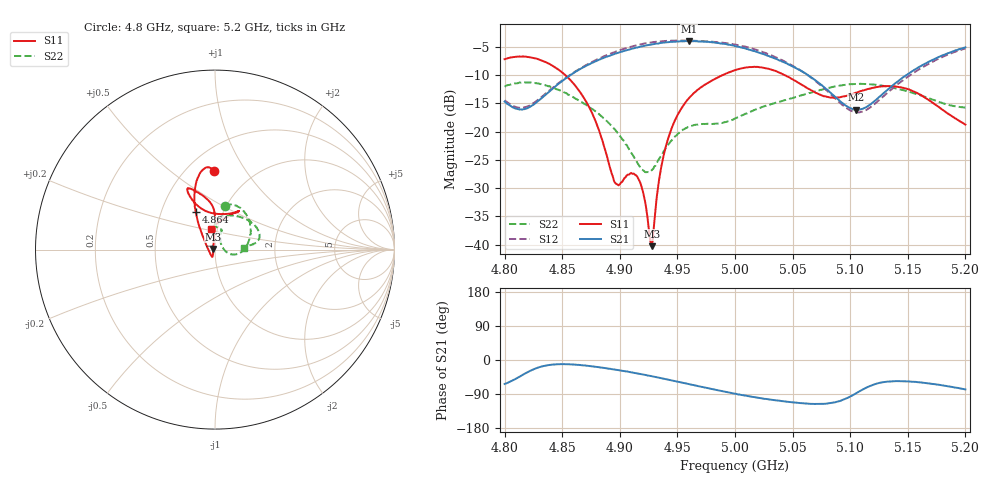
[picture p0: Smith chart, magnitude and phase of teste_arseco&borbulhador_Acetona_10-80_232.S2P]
! Network Analyzer HP8722D
! Hewlett-Packard
! Data name: Linha & Wilkinson
! Saver's name: Rodrigo Anjos
! Comments: Teste da utilização de aquisição
! continua pelo VNA HP8722D
! Time and date: 25/4/2025 17:12
!  Frequency  S11  S21  S12  S22
# HZ  S  MA R 50
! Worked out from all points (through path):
!   401 points, 4.8 GHz to 5.2 GHz, reference 50 ohm
!   highest |S21| = -4.01 dB at 4.96 GHz (marker M1); lowest = -16.2 dB at 5.105 GHz (marker M2)
!   lowest |S11| = -40.3 dB at 4.928 GHz (marker M3), VSWR 1.02, Z = 49.1 + j0.289 ohm
!   |S11| at or under -10 dB: 4.853 GHz to 4.99 GHz (137 MHz wide, 2.78 % of centre); 5.043 GHz to end of sweep
!   |S22| runs from -27.2 to -11.3 dB; largest |S21 - S12| = 1.2
!   S11 on the Smith chart (normalised r, x): 4.8 GHz: 0.67, +0.72; 4.864 GHz: 0.74, +0.33; 5.2 GHz: 0.93, +0.21
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4.8e9  0.4362 90.9  0.1839 -63.3  0.1889 70.1  0.2486 77.1
4.82e9  0.4553 97.3  0.1611 -31.9  0.1672 99.0  0.2714 61.5
4.844e9  0.3685 107.2  0.2501 -11.4  0.2537 119.3  0.2395 35.5
4.864e9  0.235 117.2  0.349 -12.8  0.3525 120.9  0.1891 12.0
4.867e9  0.212 118.9  0.3636 -13.9  0.3676 120.6  0.1821 8.7
4.88e9  0.1157 129.2  0.4221 -18.3  0.433 118.2  0.1478 -5.0
4.896e9  0.03519 -171.6  0.4878 -25.4  0.506 113.1  0.1037 -15.3
4.91e9  0.04304 -111.8  0.5374 -32.5  0.5625 106.9  0.0649 -11.8
4.916e9  0.03845 -108.8  0.5567 -36.0  0.583 104.1  0.05151 -0.7
4.921e9  0.02655 -114.5  0.5715 -38.7  0.5991 101.2  0.04482 14.2
4.926e9  0.01166 -149.9  0.5843 -41.7  0.6097 98.3  0.04435 34.4
4.928e9  0.009714 162.3  0.5896 -42.9  0.6147 96.9  0.04594 41.5
4.934e9  0.03694 102.7  0.6008 -46.8  0.6254 93.1  0.05709 57.3
4.944e9  0.1003 91.5  0.6204 -53.0  0.6335 86.8  0.08157 68.4
4.96e9  0.1972 90.5  0.6302 -63.6  0.634 76.5  0.1099 70.2
5e9  0.3488 109.2  0.5685 -89.0  0.5877 50.7  0.1304 87.7
5.03e9  0.3562 115.4  0.4611 -104.3  0.4786 33.8  0.1725 85.0
5.067e9  0.2292 105.8  0.2981 -115.8  0.2952 23.7  0.2219 56.7
5.105e9  0.2206 66.4  0.1557 -87.9  0.1478 55.0  0.2631 25.3
5.134e9  0.2524 58.2  0.2412 -56.6  0.2274 88.8  0.2476 12.3
5.17e9  0.1846 71.9  0.4222 -62.5  0.407 84.3  0.1942 6.9
5.2e9  0.1153 101.4  0.5546 -77.7  0.5424 70.1  0.1629 3.6
